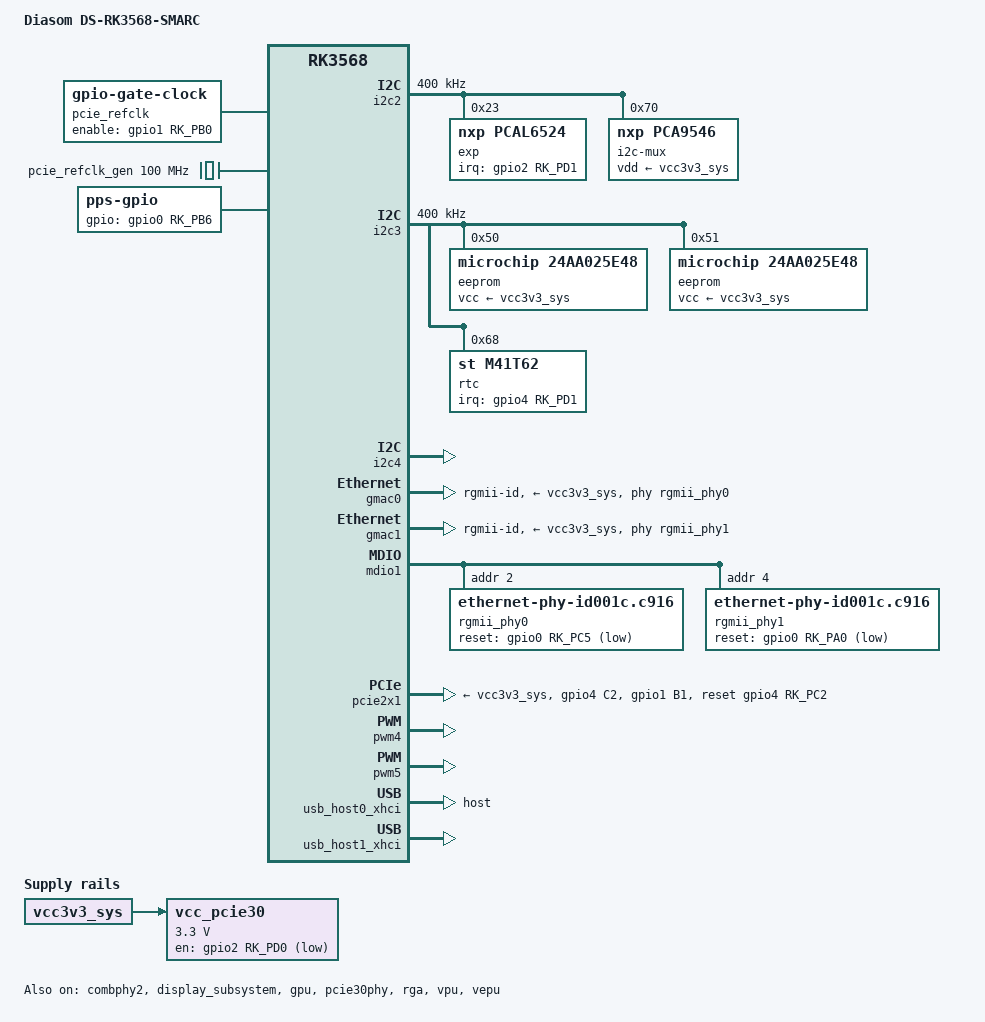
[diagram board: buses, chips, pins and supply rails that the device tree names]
/* SPDX-License-Identifier: GPL-2.0+ */
/* SPDX-FileCopyrightText: Alexander Shiyan <shc_work@mail.ru> */

/dts-v1/;

#include "rk3568-diasom-som.dtsi"

/ {
	model = "Diasom DS-RK3568-SMARC";
	compatible = "diasom,ds-rk3568-som-smarc",
		     "diasom,ds-rk3568-som",
		     "rockchip,rk3568";

	aliases {
		ethernet0 = &gmac0;
		ethernet1 = &gmac1;
		i2c6 = &i2c6;
		i2c7 = &i2c7;
		i2c8 = &i2c8;
		i2c9 = &i2c9;
	};

	pcie_refclk: pcie-refclk-clock {
		pinctrl-0 = <&pcie30_clk_pins>;
		pinctrl-names = "default";
		compatible = "gpio-gate-clock";
		clocks = <&pcie_refclk_gen>;
		#clock-cells = <0>;
		enable-gpios = <&gpio1 RK_PB0 GPIO_ACTIVE_HIGH>;
	};

	pcie_refclk_gen: pcie-refclk-gen-clock {
		compatible = "fixed-clock";
		#clock-cells = <0>;
		clock-frequency = <100000000>;
	};

	pps {
		pinctrl-names = "default";
		pinctrl-0 = <&pps_pins>;
		compatible = "pps-gpio";
		gpios = <&gpio0 RK_PB6 GPIO_ACTIVE_HIGH>;
	};

	vcc_pcie30: vcc-pcie30-regulator {
		pinctrl-0 = <&pcie30_vcc_pins>;
		pinctrl-names = "default";
		compatible = "regulator-fixed";
		gpio = <&gpio2 RK_PD0 GPIO_ACTIVE_LOW>;
		regulator-name = "vcc_pcie30";
		regulator-min-microvolt = <3300000>;
		regulator-max-microvolt = <3300000>;
		startup-delay-us = <20000>;
		vin-supply = <&vcc3v3_sys>;
	};
};

&combphy2 {
	/* PCI-E 2.0 */
	phy-supply = <&vcc3v3_sys>;
	status = "okay";
};

&display_subsystem {
	status = "okay";
};

&i2c2 {
	pinctrl-0 = <&i2c2m1_xfer>;
	clock-frequency = <400000>;
	status = "okay";

	exp: gpio@23 {
		pinctrl-names = "default";
		pinctrl-0 = <&exp_pins>;
		compatible = "nxp,pcal6524";
		reg = <0x23>;
		gpio-controller;
		#gpio-cells = <2>;
		interrupt-controller;
		#interrupt-cells = <2>;
		interrupt-parent = <&gpio2>;
		interrupts = <RK_PD1 IRQ_TYPE_LEVEL_LOW>;
	};

	i2c-mux@70 {
		compatible = "nxp,pca9546";
		reg = <0x70>;
		i2c-mux-idle-disconnect;
		vdd-supply = <&vcc3v3_sys>;
		#address-cells = <1>;
		#size-cells = <0>;

		i2c6: i2c@0 {
			/* I2C_CAM0 */
			reg = <0>;
			#address-cells = <1>;
			#size-cells = <0>;
		};

		i2c7: i2c@1 {
			/* I2C_CAM1 */
			reg = <1>;
			#address-cells = <1>;
			#size-cells = <0>;
		};

		i2c8: i2c@2 {
			/* I2C_LCD */
			reg = <2>;
			#address-cells = <1>;
			#size-cells = <0>;
		};

		i2c9: i2c@3 {
			reg = <3>;
			#address-cells = <1>;
			#size-cells = <0>;
		};
	};
};

&i2c3 {
	/* I2C_GP */
	clock-frequency = <400000>;
	status = "okay";

	eeprom@50 {
		compatible = "microchip,24aa025e48", "atmel,24c02";
		reg = <0x50>;
		pagesize = <16>;
		vcc-supply = <&vcc3v3_sys>;
		#address-cells = <1>;
		#size-cells = <1>;

		mac0: mac-address@fa {
			reg = <0xfa 0x06>;
			read-only;
		};
	};

	eeprom@51 {
		compatible = "microchip,24aa025e48", "atmel,24c02";
		reg = <0x51>;
		pagesize = <16>;
		vcc-supply = <&vcc3v3_sys>;
		#address-cells = <1>;
		#size-cells = <1>;

		mac1: mac-address@fa {
			reg = <0xfa 0x06>;
			read-only;
		};
	};

	rtc@68 {
		pinctrl-names = "default";
		pinctrl-0 = <&rtc_pins>;
		compatible = "st,m41t62";
		reg = <0x68>;
		interrupt-parent = <&gpio4>;
		interrupts = <RK_PD1 IRQ_TYPE_LEVEL_LOW>;
		wakeup-source;

		clock {
			compatible = "fixed-clock";
			clock-accuracy = <2000>;
			clock-frequency = <1>;
			clock-output-names = "pps";
			#clock-cells = <0>;
		};
	};
};

&i2c4 {
	/* I2C_PM */
	status = "okay";
};

&gmac0 {
	assigned-clocks = <&cru SCLK_GMAC0_RX_TX>, <&cru SCLK_GMAC0>;
	assigned-clock-parents = <&cru SCLK_GMAC0_RGMII_SPEED>;
	assigned-clock-rates = <0>, <125000000>;
	pinctrl-names = "default";
	pinctrl-0 = <&gmac0_tx_bus2 &gmac0_rx_bus2 &gmac0_rgmii_clk &gmac0_rgmii_bus>;
	clock_in_out = "output";
	nvmem-cells = <&mac0>;
	nvmem-cell-names = "mac-address";
	phy-handle = <&rgmii_phy0>;
	phy-mode = "rgmii-id";
	phy-supply = <&vcc3v3_sys>;
	status = "okay";
};

&gmac1 {
	assigned-clocks = <&cru SCLK_GMAC1_RX_TX>, <&cru SCLK_GMAC1>;
	assigned-clock-parents = <&cru SCLK_GMAC1_RGMII_SPEED>;
	assigned-clock-rates = <0>, <125000000>;
	pinctrl-names = "default";
	pinctrl-0 = <&gmac1m1_miim &gmac1m1_tx_bus2 &gmac1m1_rx_bus2 &gmac1m1_rgmii_clk &gmac1m1_rgmii_bus>;
	clock_in_out = "output";
	nvmem-cells = <&mac1>;
	nvmem-cell-names = "mac-address";
	phy-handle = <&rgmii_phy1>;
	phy-mode = "rgmii-id";
	phy-supply = <&vcc3v3_sys>;
	status = "okay";
};

&gpu {
	status = "okay";
};

&mdio0 {
	status = "disabled";
};

&mdio1 {
	rgmii_phy0: phy@2 {
		/* RTL8211F */
		pinctrl-names = "default";
		pinctrl-0 = <&gmac0_rst_pins>;
		compatible = "ethernet-phy-id001c.c916",
			     "ethernet-phy-ieee802.3-c22";
		reg = <0x2>;
		reset-assert-us = <20000>;
		reset-deassert-us = <100000>;
		reset-gpios = <&gpio0 RK_PC5 GPIO_ACTIVE_LOW>;
	};

	rgmii_phy1: phy@4 {
		/* RTL8211F */
		pinctrl-names = "default";
		pinctrl-0 = <&gmac1_rst_pins>;
		compatible = "ethernet-phy-id001c.c916",
			     "ethernet-phy-ieee802.3-c22";
		reg = <0x4>;
		reset-assert-us = <20000>;
		reset-deassert-us = <100000>;
		reset-gpios = <&gpio0 RK_PA0 GPIO_ACTIVE_LOW>;
	};
};

&pcie2x1 {
	/* PCIE_C */
	pinctrl-names = "default";
	pinctrl-0 = <&pcie2x1_pins>;
	reset-gpios = <&gpio4 RK_PC2 GPIO_ACTIVE_HIGH>;
	vpcie3v3-supply = <&vcc3v3_sys>;
	status = "okay";
};

&pcie30phy {
	phy-supply = <&vcc_pcie30>;
	status = "okay";
};

//pcie_refclk should be handles in pci node

&pwm4 {
	/* LCD0_BKLT_PWM */
	status = "okay";
};

&pwm5 {
	/* LCD1_BKLT_PWM */
	status = "okay";
};

&rga {
	status = "okay";
};

&usb_host0_xhci {
	dr_mode = "host";
};

&usb_host1_xhci {
	status = "okay";
};

&vdda0v9_image {
	/* Temporary hack regulator-always-on and regulator-boot-on
	   properties until we have regulator handling for dsi & lvds nodes
	*/
	regulator-always-on;
	regulator-boot-on;
};

&vcca1v8_image {
	/* Temporary hack regulator-always-on and regulator-boot-on
	   properties until we have regulator handling for dsi & lvds nodes
	*/
	regulator-always-on;
	regulator-boot-on;
};

&vpu {
	status = "okay";
};

&vdpu_mmu {
	status = "okay";
};

&vepu {
	status = "okay";
};

&vepu_mmu {
	status = "okay";
};

&pinctrl {
	exp {
		exp_pins: exp-pins {
			rockchip,pins =
				<2 RK_PD1 RK_FUNC_GPIO &pcfg_pull_none>;	/* GPIO_EXP_INT */
		};
	};

	net {
		gmac0_rst_pins: gmac0-rst-pins {
			rockchip,pins =
				<0 RK_PC5 RK_FUNC_GPIO &pcfg_pull_none>;	/* GMAC0_RST */
		};

		gmac1_rst_pins: gmac1-rst-pins {
			rockchip,pins =
				<0 RK_PA0 RK_FUNC_GPIO &pcfg_pull_none>;	/* GMAC1_RST */
		};
	};

	pci {
		pcie2x1_pins: pcie2x1-pins {
			rockchip,pins =
				<4 RK_PC2 RK_FUNC_GPIO &pcfg_pull_none>,	/* PCIE_C_RST# */
				<1 RK_PB1 4 &pcfg_pull_none>;			/* pcie20_wakenm2 */
		};

		pcie30_clk_pins: pcie30-clk-pins {
			rockchip,pins =
				<1 RK_PB0 RK_FUNC_GPIO &pcfg_pull_none>;	/* PCIE30_CLK_IC_OE */
		};

		pcie30_vcc_pins: pcie30-vcc-pins {
			rockchip,pins =
				<2 RK_PD0 RK_FUNC_GPIO &pcfg_pull_none>;	/* PCIE30_CLK_IC_PDN */
		};
	};

	pps {
		pps_pins: pps-pins {
			rockchip,pins =
				<0 RK_PB6 RK_FUNC_GPIO &pcfg_pull_none>;	/* RTC_SQW */
		};
	};

	rtc {
		rtc_pins: rtc-pins {
			rockchip,pins =
				<4 RK_PD1 RK_FUNC_GPIO &pcfg_pull_none>;	/* RTC_IRQ */
		};
	};
};
